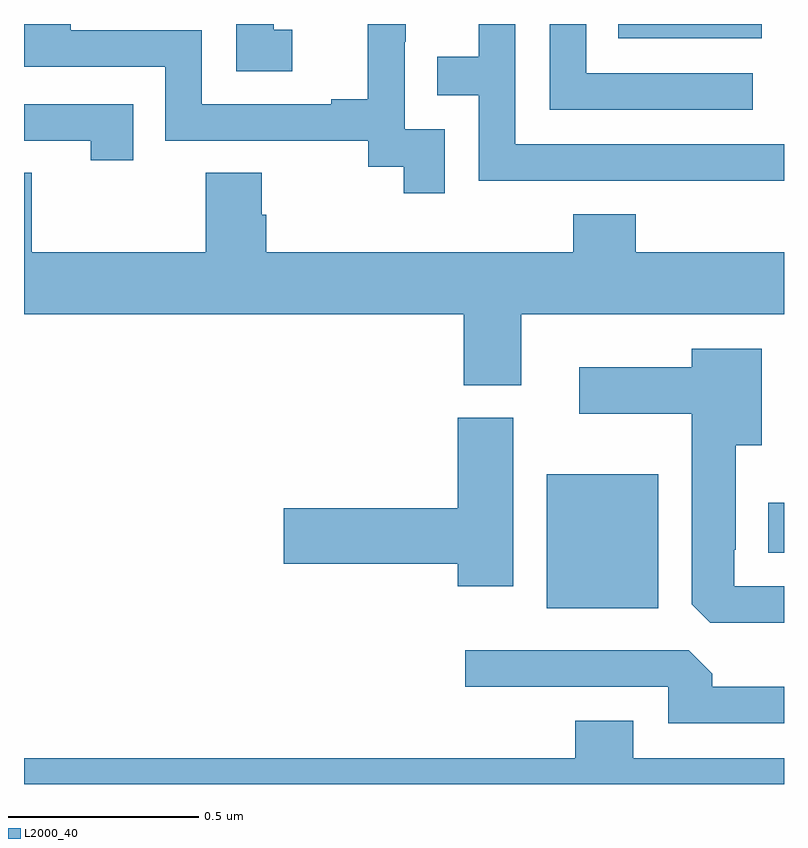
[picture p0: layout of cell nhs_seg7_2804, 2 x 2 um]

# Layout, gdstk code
import gdstk
lib = gdstk.Library(unit=1e-6, precision=1e-09)
def R(c, l, rs):  # rectangles x0, y0, x1, y1
    for r in rs: c.add(gdstk.rectangle(r[:2], r[2:], *l))
def P(c, l, *ps):  # polygons
    for p in ps: c.add(gdstk.Polygon(p, *l))
L2000_40 = (2000, 40)

nhs_seg7_2804 = lib.new_cell('nhs_seg7_2804')
R(nhs_seg7_2804, L2000_40, [(151.376,1046.462,151.669,1046.815), (151.958,1046.609,152,1046.74), (151.564,1047.962,151.942,1048)])
P(nhs_seg7_2804, L2000_40, [(152,1047.684),(151.293,1047.684),(151.293,1048),(151.197,1048),(151.197,1047.914),(151.087,1047.914),(151.087,1047.813),(151.197,1047.813),(151.197,1047.588),(151.693,1047.588),(151.693,1047.587),(152,1047.587)],
  [(151.107,1047.723),(151.002,1047.723),(151.002,1047.953),(151.004,1047.953),(151.004,1048),(150.905,1048),(150.905,1047.802),(150.809,1047.802),(150.809,1047.789),(150.468,1047.789),(150.468,1047.984),(150.123,1047.984),(150.123,1048),(150,1048),(150,1047.888),(150.372,1047.888),(150.372,1047.693),(150.906,1047.693),(150.906,1047.625),(150.999,1047.625),(150.999,1047.555),(151.107,1047.555)],
  [(151.918,1047.87),(151.479,1047.87),(151.479,1048),(151.383,1048),(151.383,1047.774),(151.918,1047.774)],
  [(150.706,1047.985),(150.657,1047.985),(150.657,1048),(150.558,1048),(150.558,1047.876),(150.706,1047.876)],
  [(150.287,1047.789),(150,1047.789),(150,1047.693),(150.176,1047.693),(150.176,1047.642),(150.287,1047.642)],
  [(151.309,1047.236),(152,1047.236),(152,1047.4),(151.61,1047.4),(151.61,1047.499),(151.445,1047.499),(151.445,1047.4),(150.638,1047.4),(150.638,1047.498),(150.625,1047.498),(150.625,1047.608),(150.478,1047.608),(150.478,1047.4),(150.021,1047.4),(150.021,1047.608),(150,1047.608),(150,1047.236),(151.157,1047.236),(151.157,1047.049),(151.309,1047.049)],
  [(152,1046.52),(151.869,1046.52),(151.869,1046.617),(151.873,1046.617),(151.873,1046.891),(151.942,1046.891),(151.942,1047.145),(151.757,1047.145),(151.757,1047.097),(151.461,1047.097),(151.461,1046.975),(151.757,1046.975),(151.757,1046.473),(151.806,1046.424),(152,1046.424)],
  [(151.288,1046.964),(151.142,1046.964),(151.142,1046.726),(150.684,1046.726),(150.684,1046.579),(151.142,1046.579),(151.142,1046.52),(151.288,1046.52)],
  [(152,1046.256),(151.811,1046.256),(151.811,1046.29),(151.749,1046.352),(151.161,1046.352),(151.161,1046.256),(151.695,1046.256),(151.695,1046.16),(152,1046.16)],
  [(150,1046),(152,1046),(152,1046.068),(151.603,1046.068),(151.603,1046.167),(151.451,1046.167),(151.451,1046.068),(150,1046.068)])

lib.write_gds('nhs_seg7_2804.gds')
